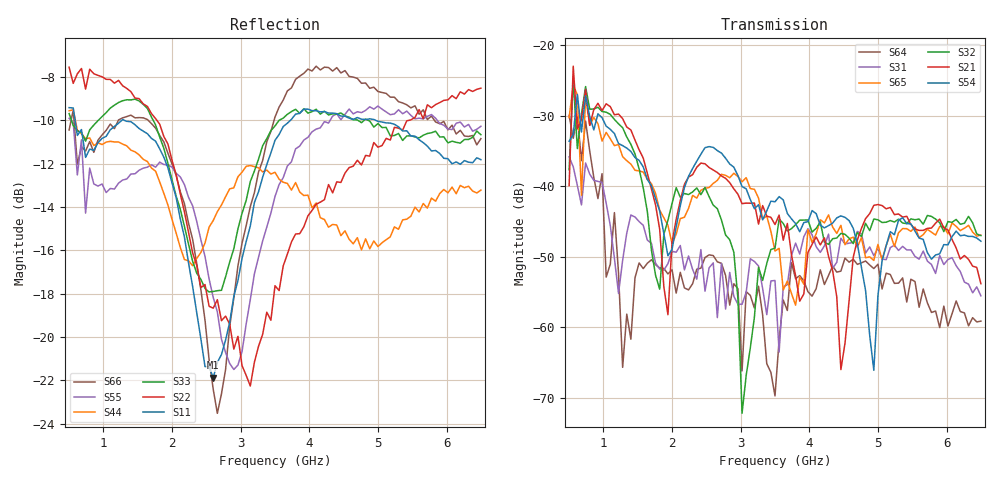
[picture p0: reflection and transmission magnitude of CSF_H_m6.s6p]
!Keysight Technologies,M9804A,MY58100912,A.14.10.03
!Date: Thursday, April 27, 2023 10:28:33
!Correction: S11(C  6-Port  )
!S12(C  6-Port  )
!S13(C  6-Port  )
!S14(C  6-Port  )
!S15(C  6-Port  )
!S16(C  6-Port  )
!S21(C  6-Port  )
!S22(C  6-Port  )
!S23(C  6-Port  )
!S24(C  6-Port  )
!S25(C  6-Port  )
!S26(C  6-Port  )
!S31(C  6-Port  )
!S32(C  6-Port  )
!S33(C  6-Port  )
!S34(C  6-Port  )
!S35(C  6-Port  )
!S36(C  6-Port  )
!S41(C  6-Port  )
!S42(C  6-Port  )
!S43(C  6-Port  )
!S44(C  6-Port  )
!S45(C  6-Port  )
!S46(C  6-Port  )
!S51(C  6-Port  )
!S52(C  6-Port  )
!S53(C  6-Port  )
!S54(C  6-Port  )
!S55(C  6-Port  )
!S56(C  6-Port  )
!S61(C  6-Port  )
!S62(C  6-Port  )
!S63(C  6-Port  )
!S64(C  6-Port  )
!S65(C  6-Port  )
!S66(C  6-Port  )
!S6P File: Measurement: :
# Hz S  RI  R 50
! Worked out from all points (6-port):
!   101 points, 500 MHz to 6.5 GHz, reference 50 ohm
!   strongest paths, dB at 500 MHz, 2 GHz, 3.5 GHz, 5 GHz, 6.5 GHz:
!     S54: -33.6, -48.9, -42.2, -55.5, -47.8
!     S21: -39.9, -47.9, -45.4, -42.6, -53.8
!     S32: -37.6, -42.4, -48.8, -44.7, -47.0
!     S65: -30.3, -48.1, -49.2, -48.2, -46.9
!     S31: -35.8, -49.2, -53.4, -48.8, -55.5
!     S64: -30.0, -51.8, -69.7, -51.1, -59.1
!   lowest |S11| = -21.9 dB at 2.6 GHz (marker M1), VSWR 1.18, Z = 42.8 + j1.97 ohm
!   |S11| at or under -10 dB: 586.8 MHz to 1.269 GHz (682.2 MHz wide, 73.5 % of centre); 1.302 GHz to 3.725 GHz (2.423 GHz wide, 96.4 % of centre); 4.965 GHz to end of sweep
